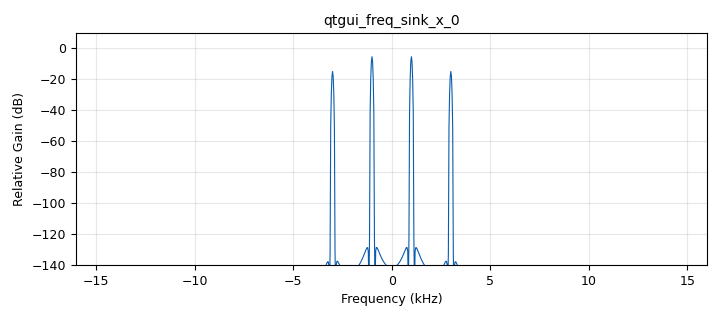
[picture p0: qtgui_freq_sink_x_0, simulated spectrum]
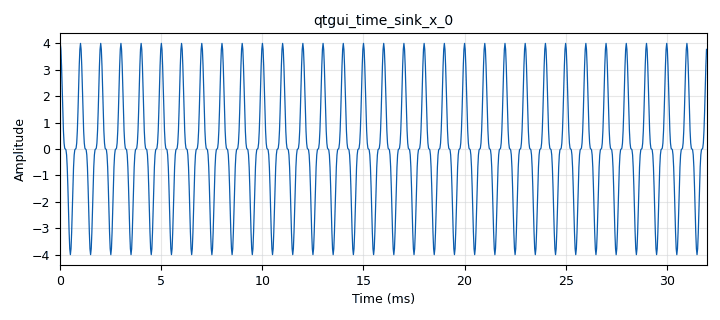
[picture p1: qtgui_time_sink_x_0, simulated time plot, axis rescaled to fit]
options:
  parameters:
    generate_options: qt_gui
    id: Labo_2_GRC
    output_language: python
    title: Not titled yet
  states: {}

blocks:
- name: frequentie
  id: variable_qtgui_range
  parameters:
    start: '0'
    step: '1'
    stop: 10e3
    value: 3e3
  states: {}
- name: frequentie2
  id: variable_qtgui_range
  parameters:
    start: '0'
    step: '1'
    stop: 10e3
    value: 1e3
  states: {}
- name: samp_rate
  id: variable
  parameters:
    value: '32000'
  states: {}
- name: analog_sig_source_x_0
  id: analog_sig_source_x
  parameters:
    amp: '1'
    freq: frequentie
    offset: '0'
    phase: '0'
    samp_rate: samp_rate
    type: float
    waveform: analog.GR_COS_WAVE
  states: {}
- name: analog_sig_source_x_0_0
  id: analog_sig_source_x
  parameters:
    amp: '3'
    freq: frequentie2
    offset: '0'
    phase: '0'
    samp_rate: samp_rate
    type: float
    waveform: analog.GR_COS_WAVE
  states: {}
- name: blocks_add_xx_0
  id: blocks_add_xx
  parameters:
    type: float
  states: {}
- name: blocks_throttle_0
  id: blocks_throttle
  parameters:
    samples_per_second: samp_rate
    type: float
  states: {}
- name: qtgui_freq_sink_x_0
  id: qtgui_freq_sink_x
  parameters:
    bw: samp_rate
    fc: '0'
    fftsize: '1024'
    type: float
  states: {}
- name: qtgui_time_sink_x_0
  id: qtgui_time_sink_x
  parameters:
    size: '1024'
    srate: samp_rate
    type: float
  states: {}

connections:
- [analog_sig_source_x_0, '0', blocks_add_xx_0, '0']
- [analog_sig_source_x_0_0, '0', blocks_add_xx_0, '1']
- [blocks_add_xx_0, '0', blocks_throttle_0, '0']
- [blocks_throttle_0, '0', qtgui_freq_sink_x_0, '0']
- [blocks_throttle_0, '0', qtgui_time_sink_x_0, '0']

metadata:
  file_format: 1
